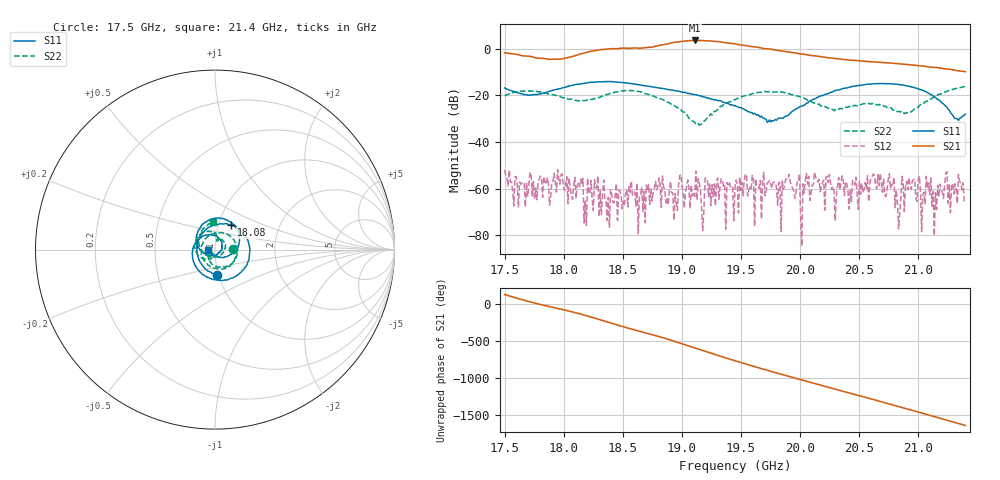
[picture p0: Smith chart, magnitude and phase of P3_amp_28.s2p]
!Created with skrf (http://scikit-rf.org).
# GHz S RI R 50.0
!freq ReS11 ImS11 ReS21 ImS21 ReS12 ImS12 ReS22 ImS22
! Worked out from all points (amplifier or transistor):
!   401 points, 17.5 GHz to 21.4 GHz, reference 50 ohm
!   highest |S21| = 3.5 dB at 19.11 GHz (marker M1)
!   |S21| within 3 dB of that: 18.71 GHz to 19.65 GHz (948.2 MHz wide, 4.94 % of centre)
!   unconditionally stable (mu >= 1): start of sweep to end of sweep
!   at 18.14 GHz: K = 391.74, MAG = -2.2 dB, |S12| = -55.9 dB
!   at 19.45 GHz: K = 372.53, MAG = 2.0 dB, |S12| = -59.5 dB
!   at 21.4 GHz: K = 2995.25, MAG = -9.8 dB, |S12| = -65.9 dB
!   S11 on the Smith chart (normalised r, x): 17.5 GHz: 0.98, -0.29; 18.08 GHz: 1.15, +0.32; 21.4 GHz: 0.92, -0.00
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17.5  0.00954 -0.1431  -0.5083 0.6342  -0.00162 0.0019  0.0995 0.00267
17.74375  -0.1022 0.0154  0.6236 0.189  -0.000463 0.00135  0.0786 -0.0959
18.07525  0.0884 0.1369  -0.1874 -0.6507  0.000519 -0.00029  -0.0753 -0.0306
18.15325  0.1418 0.1057  -0.5891 -0.5074  0.00122 2.5e-05  -0.0755 0.0181
18.28975  0.1942 0.00349  -0.8523 0.3729  0.00164 -0.000899  -0.0113 0.0881
18.44575  0.1474 -0.1238  0.1594 0.9789  0.000225 -0.00127  0.1026 0.0573
18.62125  0.00916 -0.1698  1.025 -0.00836  -5.61e-05 -0.00132  0.093 -0.0784
18.8065  -0.1055 -0.0983  0.1994 -1.147  -0.000918 -0.00142  -0.00981 -0.0854
18.982  -0.12 0.0145  -1.371 -0.3366  -0.00171 0.000845  -0.0375 -0.0356
19.10875  -0.0748 0.0695  -0.9023 1.188  -0.000612 0.000293  -0.0185 -0.0184
19.1965  -0.0384 0.0834  0.2277 1.458  0.000543 0.00157  -0.00774 -0.0276
19.30375  0.00334 0.0761  1.274 0.6158  0.00105 0.00134  -0.0178 -0.0466
19.45  0.0338 0.0493  0.8497 -0.9289  0.000617 0.000857  -0.0638 -0.0492
19.567  0.0397 0.0193  -0.2676 -1.097  0.000909 -0.000169  -0.0994 -0.0231
19.723  0.0224 -0.0137  -0.9849 -0.0831  0.00132 0.000246  -0.1063 0.0535
19.90825  -0.0203 -0.0332  -0.1407 0.8293  -0.000212 -0.00203  -0.035 0.1024
20.10325  -0.0794 -0.00503  0.6881 0.159  -0.00119 5.76e-05  0.0162 0.0687
20.347  -0.098 0.0933  -0.027 -0.5912  -0.00103 -0.000859  0.0108 0.0505
20.542  -0.0338 0.1648  -0.533 -0.0286  -0.000879 0.000357  0.0359 0.0558
20.7565  0.0842 0.1545  0.0105 0.4924  0.00156 0.00139  0.0532 -0.00447
21.11725  0.099 -0.0198  0.1103 -0.3831  -0.000237 0.000348  -0.0852 0.0175
21.4  -0.0398 -0.00183  -0.2968 0.1218  -0.000507 -1.67e-05  -0.00859 0.1544
